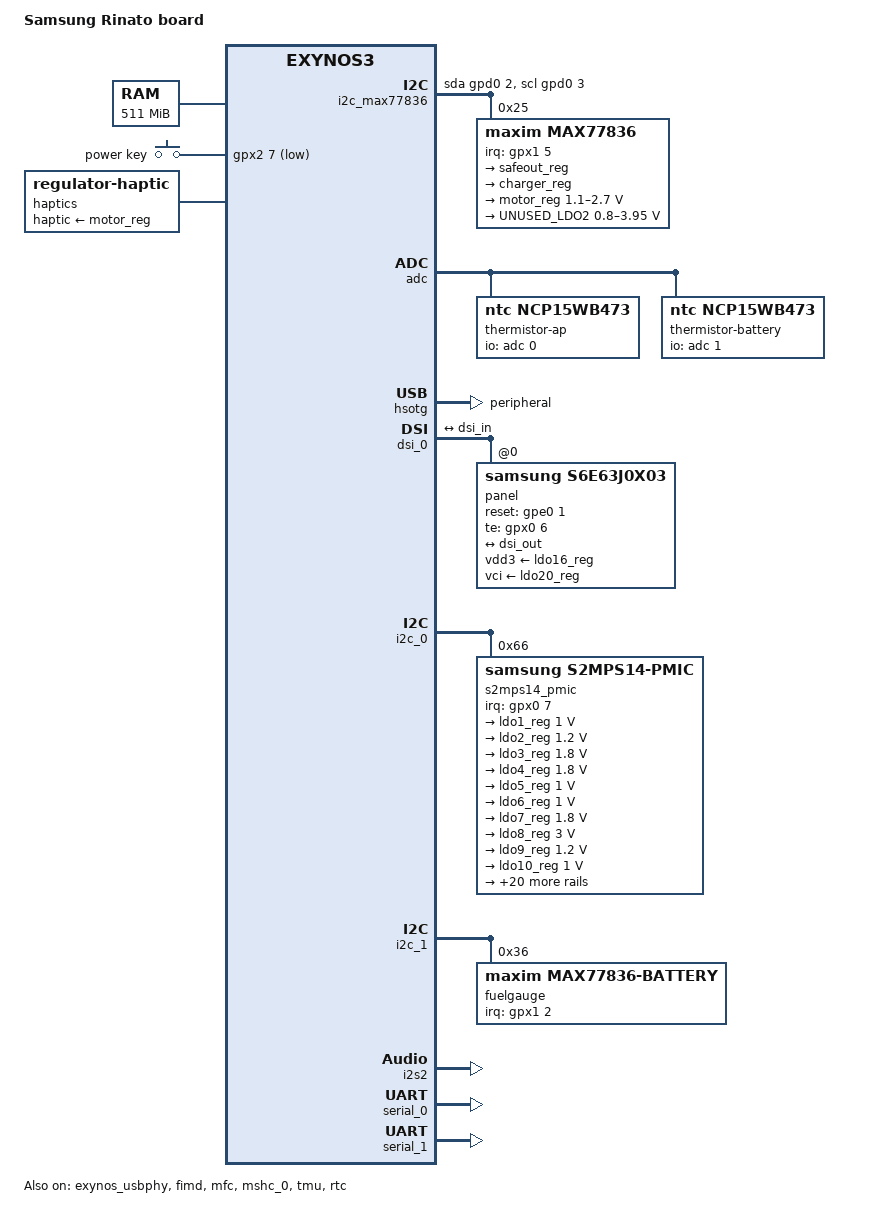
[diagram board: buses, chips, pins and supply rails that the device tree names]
/*
 * Samsung's Exynos3250 based Rinato board device tree source
 *
 * Copyright (c) 2014 Samsung Electronics Co., Ltd.
 *		http://www.samsung.com
 *
 * Device tree source file for Samsung's Rinato board which is based on
 * Samsung Exynos3250 SoC.
 *
 * This program is free software; you can redistribute it and/or modify
 * it under the terms of the GNU General Public License version 2 as
 * published by the Free Software Foundation.
 */

/dts-v1/;
#include "exynos3250.dtsi"
#include <dt-bindings/input/input.h>
#include <dt-bindings/gpio/gpio.h>

/ {
	model = "Samsung Rinato board";
	compatible = "samsung,rinato", "samsung,exynos3250", "samsung,exynos3";

	aliases {
		i2c7 = &i2c_max77836;
	};

	memory {
		reg =  <0x40000000 0x1ff00000>;
	};

	firmware@0205F000 {
		compatible = "samsung,secure-firmware";
		reg = <0x0205F000 0x1000>;
	};

	gpio_keys {
		compatible = "gpio-keys";

		power_key {
			gpios = <&gpx2 7 GPIO_ACTIVE_LOW>;
			linux,code = <KEY_POWER>;
			label = "power key";
			debounce-interval = <10>;
			gpio-key,wakeup;
		};
	};

	i2c_max77836: i2c-gpio-0 {
		compatible = "i2c-gpio";
		gpios = <&gpd0 2 0>, <&gpd0 3 0>;
		#address-cells = <1>;
		#size-cells = <0>;

		max77836: subpmic@25 {
			compatible = "maxim,max77836";
			interrupt-parent = <&gpx1>;
			interrupts = <5 0>;
			reg = <0x25>;
			wakeup;

			muic: max77836-muic {
				compatible = "maxim,max77836-muic";
			};

			regulators {
				compatible = "maxim,max77836-regulator";
				safeout_reg: SAFEOUT {
					regulator-name = "SAFEOUT";
				};

				charger_reg: CHARGER {
					regulator-name = "CHARGER";
					regulator-min-microamp = <45000>;
					regulator-max-microamp = <475000>;
					regulator-boot-on;
				};

				motor_reg: LDO1 {
					regulator-name = "MOT_2.7V";
					regulator-min-microvolt = <1100000>;
					regulator-max-microvolt = <2700000>;
				};

				LDO2 {
					regulator-name = "UNUSED_LDO2";
					regulator-min-microvolt = <800000>;
					regulator-max-microvolt = <3950000>;
				};
			};

			charger {
				compatible = "maxim,max77836-charger";

				maxim,constant-uvolt = <4350000>;
				maxim,fast-charge-uamp = <225000>;
				maxim,eoc-uamp = <7500>;
				maxim,ovp-uvolt = <6500000>;
			};
		};
	};

	haptics {
		compatible = "regulator-haptic";
		haptic-supply = <&motor_reg>;
		min-microvolt = <1100000>;
		max-microvolt = <2700000>;
	};
};

&adc {
	vdd-supply = <&ldo3_reg>;
	status = "okay";
	assigned-clocks = <&cmu CLK_SCLK_TSADC>;
	assigned-clock-rates = <6000000>;

	thermistor-ap {
		compatible = "ntc,ncp15wb473";
		pullup-uv = <1800000>;
		pullup-ohm = <100000>;
		pulldown-ohm = <100000>;
		io-channels = <&adc 0>;
	};

	thermistor-battery {
		compatible = "ntc,ncp15wb473";
		pullup-uv = <1800000>;
		pullup-ohm = <100000>;
		pulldown-ohm = <100000>;
		io-channels = <&adc 1>;
	};
};

&exynos_usbphy {
	status = "okay";
};

&hsotg {
	vusb_d-supply = <&ldo15_reg>;
	vusb_a-supply = <&ldo12_reg>;
	dr_mode = "peripheral";
	status = "okay";
};

&dsi_0 {
	vddcore-supply = <&ldo6_reg>;
	vddio-supply = <&ldo6_reg>;
	samsung,pll-clock-frequency = <24000000>;
	status = "okay";

	ports {
		#address-cells = <1>;
		#size-cells = <0>;

		port@1 {
			reg = <1>;

			dsi_out: endpoint {
				remote-endpoint = <&dsi_in>;
				samsung,burst-clock-frequency = <250000000>;
				samsung,esc-clock-frequency = <20000000>;
			};
		};
	};

	panel@0 {
		compatible = "samsung,s6e63j0x03";
		reg = <0>;
		vdd3-supply = <&ldo16_reg>;
		vci-supply = <&ldo20_reg>;
		reset-gpios = <&gpe0 1 0>;
		te-gpios = <&gpx0 6 0>;
		power-on-delay= <30>;
		power-off-delay= <120>;
		reset-delay = <5>;
		init-delay = <100>;
		flip-horizontal;
		flip-vertical;
		panel-width-mm = <29>;
		panel-height-mm = <29>;

		display-timings {
			timing-0 {
				clock-frequency = <0>;
				hactive = <320>;
				vactive = <320>;
				hfront-porch = <1>;
				hback-porch = <1>;
				hsync-len = <1>;
				vfront-porch = <150>;
				vback-porch = <1>;
				vsync-len = <2>;
			};
		};

		port {
			dsi_in: endpoint {
				remote-endpoint = <&dsi_out>;
			};
		};
	};
};

&fimd {
	status = "okay";

	i80-if-timings {
		cs-setup = <0>;
		wr-setup = <0>;
		wr-act = <1>;
		wr-hold = <0>;
	};
};

&i2c_0 {
	#address-cells = <1>;
	#size-cells = <0>;
	samsung,i2c-sda-delay = <100>;
	samsung,i2c-slave-addr = <0x10>;
	samsung,i2c-max-bus-freq = <100000>;
	status = "okay";

	s2mps14_pmic@66 {
		compatible = "samsung,s2mps14-pmic";
		interrupt-parent = <&gpx0>;
		interrupts = <7 0>;
		reg = <0x66>;
		wakeup;

		s2mps14_osc: clocks {
			compatible = "samsung,s2mps14-clk";
			#clock-cells = <1>;
			clock-output-names = "s2mps14_ap", "unused",
				"s2mps14_bt";
		};

		regulators {
			ldo1_reg: LDO1 {
				regulator-name = "VAP_ALIVE_1.0V";
				regulator-min-microvolt = <1000000>;
				regulator-max-microvolt = <1000000>;
				regulator-always-on;

				regulator-state-mem {
					regulator-on-in-suspend;
				};
			};

			ldo2_reg: LDO2 {
				regulator-name = "VAP_M1_1.2V";
				regulator-min-microvolt = <1200000>;
				regulator-max-microvolt = <1200000>;
				regulator-always-on;

				regulator-state-mem {
					regulator-off-in-suspend;
				};
			};

			ldo3_reg: LDO3 {
				regulator-name = "VCC_AP_1.8V";
				regulator-min-microvolt = <1800000>;
				regulator-max-microvolt = <1800000>;
				regulator-always-on;

				regulator-state-mem {
					regulator-off-in-suspend;
				};
			};

			ldo4_reg: LDO4 {
				regulator-name = "VAP_AVDD_PLL1";
				regulator-min-microvolt = <1800000>;
				regulator-max-microvolt = <1800000>;
				regulator-always-on;

				regulator-state-mem {
					regulator-off-in-suspend;
				};
			};

			ldo5_reg: LDO5 {
				regulator-name = "VAP_PLL_ISO_1.0V";
				regulator-min-microvolt = <1000000>;
				regulator-max-microvolt = <1000000>;
				regulator-always-on;

				regulator-state-mem {
					regulator-off-in-suspend;
				};
			};

			ldo6_reg: LDO6 {
				regulator-name = "VAP_VMIPI_1.0V";
				regulator-min-microvolt = <1000000>;
				regulator-max-microvolt = <1000000>;
				regulator-always-on;

				regulator-state-mem {
					regulator-off-in-suspend;
				};
			};

			ldo7_reg: LDO7 {
				regulator-name = "VAP_AVDD_1.8V";
				regulator-min-microvolt = <1800000>;
				regulator-max-microvolt = <1800000>;
				regulator-always-on;

				regulator-state-mem {
					regulator-off-in-suspend;
				};
			};

			ldo8_reg: LDO8 {
				regulator-name = "VAP_USB_3.0V";
				regulator-min-microvolt = <3000000>;
				regulator-max-microvolt = <3000000>;
				regulator-always-on;

				regulator-state-mem {
					regulator-off-in-suspend;
				};
			};

			ldo9_reg: LDO9 {
				regulator-name = "V_LPDDR_1.2V";
				regulator-min-microvolt = <1200000>;
				regulator-max-microvolt = <1200000>;
				regulator-always-on;

				regulator-state-mem {
					regulator-on-in-suspend;
				};
			};

			ldo10_reg: LDO10 {
				regulator-name = "UNUSED_LDO10";
				regulator-min-microvolt = <1000000>;
				regulator-max-microvolt = <1000000>;

				regulator-state-mem {
					regulator-off-in-suspend;
				};
			};

			ldo11_reg: LDO11 {
				regulator-name = "V_EMMC_1.8V";
				regulator-min-microvolt = <1800000>;
				regulator-max-microvolt = <1800000>;
				samsung,ext-control-gpios = <&gpk0 2 0>;
			};

			ldo12_reg: LDO12 {
				regulator-name = "V_EMMC_2.8V";
				regulator-min-microvolt = <2800000>;
				regulator-max-microvolt = <2800000>;
				samsung,ext-control-gpios = <&gpk0 2 0>;
			};

			ldo13_reg: LDO13 {
				regulator-name = "CAM_AVDD_2.8V";
				regulator-min-microvolt = <2800000>;
				regulator-max-microvolt = <2800000>;

				regulator-state-mem {
					regulator-off-in-suspend;
				};
			};

			ldo14_reg: LDO14 {
				regulator-name = "UNUSED_LDO14";
				regulator-min-microvolt = <2700000>;
				regulator-max-microvolt = <2700000>;

				regulator-state-mem {
					regulator-off-in-suspend;
				};
			};

			ldo15_reg: LDO15 {
				regulator-name = "TSP_AVDD_3.3V";
				regulator-min-microvolt = <3300000>;
				regulator-max-microvolt = <3300000>;

				regulator-state-mem {
					regulator-off-in-suspend;
				};
			};

			ldo16_reg: LDO16 {
				regulator-name = "LCD_VDD_3.3V";
				regulator-min-microvolt = <3300000>;
				regulator-max-microvolt = <3300000>;

				regulator-state-mem {
					regulator-off-in-suspend;
				};
			};

			ldo17_reg: LDO17 {
				regulator-name = "V_IRLED_3.3V";
				regulator-min-microvolt = <3300000>;
				regulator-max-microvolt = <3300000>;

				regulator-state-mem {
					regulator-off-in-suspend;
				};
			};

			ldo18_reg: LDO18 {
				regulator-name = "CAM_AF_2.8V";
				regulator-min-microvolt = <2800000>;
				regulator-max-microvolt = <2800000>;

				regulator-state-mem {
					regulator-off-in-suspend;
				};
			};

			ldo19_reg: LDO19 {
				regulator-name = "TSP_VDD_1.8V";
				regulator-min-microvolt = <1800000>;
				regulator-max-microvolt = <1800000>;

				regulator-state-mem {
					regulator-off-in-suspend;
				};
			};

			ldo20_reg: LDO20 {
				regulator-name = "LCD_VDD_1.8V";
				regulator-min-microvolt = <1800000>;
				regulator-max-microvolt = <1800000>;

				regulator-state-mem {
					regulator-off-in-suspend;
				};
			};

			ldo21_reg: LDO21 {
				regulator-name = "CAM_IO_1.8V";
				regulator-min-microvolt = <1800000>;
				regulator-max-microvolt = <1800000>;

				regulator-state-mem {
					regulator-off-in-suspend;
				};
			};

			ldo22_reg: LDO22 {
				regulator-name = "CAM_DVDD_1.2V";
				regulator-min-microvolt = <1200000>;
				regulator-max-microvolt = <1200000>;

				regulator-state-mem {
					regulator-off-in-suspend;
				};
			};

			ldo23_reg: LDO23 {
				regulator-name = "HRM_VCC_1.8V";
				regulator-min-microvolt = <1800000>;
				regulator-max-microvolt = <1800000>;
				regulator-always-on;
			};

			ldo24_reg: LDO24 {
				regulator-name = "HRM_VCC_3.3V";
				regulator-min-microvolt = <3000000>;
				regulator-max-microvolt = <3000000>;

				regulator-state-mem {
					regulator-off-in-suspend;
				};
			};

			ldo25_reg: LDO25 {
				regulator-name = "UNUSED_LDO25";
				regulator-min-microvolt = <3000000>;
				regulator-max-microvolt = <3000000>;

				regulator-state-mem {
					regulator-off-in-suspend;
				};
			};

			buck1_reg: BUCK1 {
				regulator-name = "VAP_MIF_1.0V";
				regulator-min-microvolt = <800000>;
				regulator-max-microvolt = <900000>;
				regulator-always-on;

				regulator-state-mem {
					regulator-off-in-suspend;
				};
			};

			buck2_reg: BUCK2 {
				regulator-name = "VAP_ARM_1.0V";
				regulator-min-microvolt = <850000>;
				regulator-max-microvolt = <1150000>;
				regulator-always-on;

				regulator-state-mem {
					regulator-off-in-suspend;
				};
			};

			buck3_reg: BUCK3 {
				regulator-name = "VAP_INT3D_1.0V";
				regulator-min-microvolt = <850000>;
				regulator-max-microvolt = <1000000>;
				regulator-always-on;

				regulator-state-mem {
					regulator-off-in-suspend;
				};
			};

			buck4_reg: BUCK4 {
				regulator-name = "VCC_SUB_1.95V";
				regulator-min-microvolt = <1950000>;
				regulator-max-microvolt = <1950000>;
				regulator-always-on;

				regulator-state-mem {
					regulator-on-in-suspend;
				};
			};

			buck5_reg: BUCK5 {
				regulator-name = "VCC_SUB_1.35V";
				regulator-min-microvolt = <1350000>;
				regulator-max-microvolt = <1350000>;
				regulator-always-on;

				regulator-state-mem {
					regulator-on-in-suspend;
				};
			};
		};
	};
};

&i2c_1 {
	#address-cells = <1>;
	#size-cells = <0>;
	samsung,i2c-sda-delay = <100>;
	samsung,i2c-slave-addr = <0x10>;
	samsung,i2c-max-bus-freq = <400000>;
	status = "okay";

	fuelgauge@36 {
		compatible = "maxim,max77836-battery";
		interrupt-parent = <&gpx1>;
		interrupts = <2 8>;
		reg = <0x36>;
	};
};

&i2s2 {
	status = "okay";
};

&mfc {
	status = "okay";
};

&mshc_0 {
	#address-cells = <1>;
	#size-cells = <0>;
	num-slots = <1>;
	broken-cd;
	non-removable;
	cap-mmc-highspeed;
	desc-num = <4>;
	mmc-hs200-1_8v;
	card-detect-delay = <200>;
	vmmc-supply = <&ldo12_reg>;
	clock-frequency = <100000000>;
	clock-freq-min-max = <400000 100000000>;
	samsung,dw-mshc-ciu-div = <1>;
	samsung,dw-mshc-sdr-timing = <0 1>;
	samsung,dw-mshc-ddr-timing = <1 2>;
	pinctrl-names = "default";
	pinctrl-0 = <&sd0_cmd &sd0_bus1 &sd0_bus4 &sd0_bus8>;
	bus-width = <8>;
	status = "okay";
};

&serial_0 {
	assigned-clocks = <&cmu CLK_SCLK_UART0>;
	assigned-clock-rates = <100000000>;
	status = "okay";
};

&serial_1 {
	status = "okay";
};

&tmu {
	vtmu-supply = <&ldo7_reg>;
	status = "okay";
};

&rtc {
	clocks = <&cmu CLK_RTC>, <&s2mps14_osc 0>;
	clock-names = "rtc", "rtc_src";
	status = "okay";
};

&ppmu_dmc0 {
	status = "okay";

	events {
		ppmu_dmc0_3: ppmu-event3-dmc0 {
			event-name = "ppmu-event3-dmc0";
		};
	};
};

&ppmu_dmc1 {
	status = "okay";

	events {
		ppmu_dmc1_3: ppmu-event3-dmc1 {
			event-name = "ppmu-event3-dmc1";
		};
	};
};

&ppmu_leftbus {
	status = "okay";

	events {
		ppmu_leftbus_3: ppmu-event3-leftbus {
			event-name = "ppmu-event3-leftbus";
		};
	};
};

&ppmu_rightbus {
	status = "okay";

	events {
		ppmu_rightbus_3: ppmu-event3-rightbus {
			event-name = "ppmu-event3-rightbus";
		};
	};
};

&xusbxti {
	clock-frequency = <24000000>;
};

&pinctrl_0 {
	pinctrl-names = "default";
	pinctrl-0 = <&sleep0>;

	sleep0: sleep-state {
		PIN_SLP(gpa0-0, INPUT, DOWN);
		PIN_SLP(gpa0-1, INPUT, DOWN);
		PIN_SLP(gpa0-2, INPUT, DOWN);
		PIN_SLP(gpa0-3, INPUT, DOWN);
		PIN_SLP(gpa0-4, INPUT, DOWN);
		PIN_SLP(gpa0-5, INPUT, DOWN);
		PIN_SLP(gpa0-6, INPUT, DOWN);
		PIN_SLP(gpa0-7, INPUT, DOWN);

		PIN_SLP(gpa1-0, INPUT, DOWN);
		PIN_SLP(gpa1-1, INPUT, DOWN);
		PIN_SLP(gpa1-2, INPUT, DOWN);
		PIN_SLP(gpa1-3, INPUT, DOWN);
		PIN_SLP(gpa1-4, INPUT, DOWN);
		PIN_SLP(gpa1-5, INPUT, DOWN);

		PIN_SLP(gpb-0, PREV, NONE);
		PIN_SLP(gpb-1, PREV, NONE);
		PIN_SLP(gpb-2, PREV, NONE);
		PIN_SLP(gpb-3, PREV, NONE);
		PIN_SLP(gpb-4, INPUT, DOWN);
		PIN_SLP(gpb-5, INPUT, DOWN);
		PIN_SLP(gpb-6, INPUT, DOWN);
		PIN_SLP(gpb-7, INPUT, DOWN);

		PIN_SLP(gpc0-0, INPUT, DOWN);
		PIN_SLP(gpc0-1, INPUT, DOWN);
		PIN_SLP(gpc0-2, INPUT, DOWN);
		PIN_SLP(gpc0-3, INPUT, DOWN);
		PIN_SLP(gpc0-4, INPUT, DOWN);

		PIN_SLP(gpc1-0, INPUT, DOWN);
		PIN_SLP(gpc1-1, INPUT, DOWN);
		PIN_SLP(gpc1-2, INPUT, DOWN);
		PIN_SLP(gpc1-3, INPUT, DOWN);
		PIN_SLP(gpc1-4, INPUT, DOWN);

		PIN_SLP(gpd0-0, INPUT, DOWN);
		PIN_SLP(gpd0-1, INPUT, DOWN);
		PIN_SLP(gpd0-2, INPUT, NONE);
		PIN_SLP(gpd0-3, INPUT, NONE);

		PIN_SLP(gpd1-0, INPUT, NONE);
		PIN_SLP(gpd1-1, INPUT, NONE);
		PIN_SLP(gpd1-2, INPUT, NONE);
		PIN_SLP(gpd1-3, INPUT, NONE);
	};
};

&pinctrl_1 {
	pinctrl-names = "default";
	pinctrl-0 = <&sleep1>;

	sleep1: sleep-state {
		PIN_SLP(gpe0-0, PREV, NONE);
		PIN_SLP(gpe0-1, PREV, NONE);
		PIN_SLP(gpe0-2, INPUT, DOWN);
		PIN_SLP(gpe0-3, INPUT, UP);
		PIN_SLP(gpe0-4, INPUT, DOWN);
		PIN_SLP(gpe0-5, INPUT, DOWN);
		PIN_SLP(gpe0-6, INPUT, DOWN);
		PIN_SLP(gpe0-7, INPUT, DOWN);

		PIN_SLP(gpe1-0, INPUT, DOWN);
		PIN_SLP(gpe1-1, PREV, NONE);
		PIN_SLP(gpe1-2, INPUT, DOWN);
		PIN_SLP(gpe1-3, INPUT, DOWN);
		PIN_SLP(gpe1-4, INPUT, DOWN);
		PIN_SLP(gpe1-5, INPUT, DOWN);
		PIN_SLP(gpe1-6, INPUT, DOWN);
		PIN_SLP(gpe1-7, INPUT, NONE);

		PIN_SLP(gpe2-0, INPUT, NONE);
		PIN_SLP(gpe2-1, INPUT, NONE);
		PIN_SLP(gpe2-2, INPUT, NONE);

		PIN_SLP(gpk0-0, INPUT, DOWN);
		PIN_SLP(gpk0-1, INPUT, DOWN);
		PIN_SLP(gpk0-2, OUT0, NONE);
		PIN_SLP(gpk0-3, INPUT, DOWN);
		PIN_SLP(gpk0-4, INPUT, DOWN);
		PIN_SLP(gpk0-5, INPUT, DOWN);
		PIN_SLP(gpk0-6, INPUT, DOWN);
		PIN_SLP(gpk0-7, INPUT, DOWN);

		PIN_SLP(gpk1-0, INPUT, DOWN);
		PIN_SLP(gpk1-1, INPUT, DOWN);
		PIN_SLP(gpk1-2, INPUT, DOWN);
		PIN_SLP(gpk1-3, INPUT, DOWN);
		PIN_SLP(gpk1-4, INPUT, DOWN);
		PIN_SLP(gpk1-5, INPUT, DOWN);
		PIN_SLP(gpk1-6, INPUT, DOWN);

		PIN_SLP(gpk2-0, INPUT, DOWN);
		PIN_SLP(gpk2-1, INPUT, DOWN);
		PIN_SLP(gpk2-2, INPUT, DOWN);
		PIN_SLP(gpk2-3, INPUT, DOWN);
		PIN_SLP(gpk2-4, INPUT, DOWN);
		PIN_SLP(gpk2-5, INPUT, DOWN);
		PIN_SLP(gpk2-6, INPUT, DOWN);

		PIN_SLP(gpl0-0, INPUT, DOWN);
		PIN_SLP(gpl0-1, INPUT, DOWN);
		PIN_SLP(gpl0-2, INPUT, DOWN);
		PIN_SLP(gpl0-3, INPUT, DOWN);

		PIN_SLP(gpm0-0, INPUT, DOWN);
		PIN_SLP(gpm0-1, INPUT, DOWN);
		PIN_SLP(gpm0-2, INPUT, DOWN);
		PIN_SLP(gpm0-3, INPUT, DOWN);
		PIN_SLP(gpm0-4, INPUT, DOWN);
		PIN_SLP(gpm0-5, INPUT, DOWN);
		PIN_SLP(gpm0-6, INPUT, DOWN);
		PIN_SLP(gpm0-7, INPUT, DOWN);

		PIN_SLP(gpm1-0, INPUT, DOWN);
		PIN_SLP(gpm1-1, INPUT, DOWN);
		PIN_SLP(gpm1-2, INPUT, DOWN);
		PIN_SLP(gpm1-3, INPUT, DOWN);
		PIN_SLP(gpm1-4, INPUT, DOWN);
		PIN_SLP(gpm1-5, INPUT, DOWN);
		PIN_SLP(gpm1-6, INPUT, DOWN);

		PIN_SLP(gpm2-0, INPUT, DOWN);
		PIN_SLP(gpm2-1, INPUT, DOWN);
		PIN_SLP(gpm2-2, INPUT, DOWN);
		PIN_SLP(gpm2-3, INPUT, DOWN);
		PIN_SLP(gpm2-4, INPUT, DOWN);

		PIN_SLP(gpm3-0, INPUT, DOWN);
		PIN_SLP(gpm3-1, INPUT, DOWN);
		PIN_SLP(gpm3-2, INPUT, DOWN);
		PIN_SLP(gpm3-3, INPUT, DOWN);
		PIN_SLP(gpm3-4, INPUT, DOWN);
		PIN_SLP(gpm3-5, INPUT, DOWN);
		PIN_SLP(gpm3-6, INPUT, DOWN);
		PIN_SLP(gpm3-7, INPUT, DOWN);

		PIN_SLP(gpm4-0, INPUT, DOWN);
		PIN_SLP(gpm4-1, INPUT, DOWN);
		PIN_SLP(gpm4-2, INPUT, DOWN);
		PIN_SLP(gpm4-3, INPUT, DOWN);
		PIN_SLP(gpm4-4, INPUT, DOWN);
		PIN_SLP(gpm4-5, INPUT, DOWN);
		PIN_SLP(gpm4-6, INPUT, DOWN);
		PIN_SLP(gpm4-7, INPUT, DOWN);
	};
};
